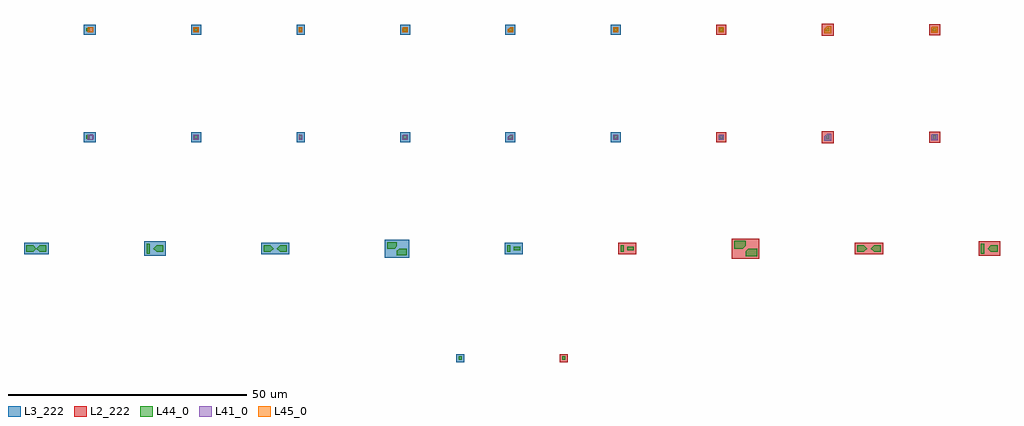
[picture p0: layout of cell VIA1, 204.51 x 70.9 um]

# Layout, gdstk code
from math import pi, radians
import gdstk
lib = gdstk.Library(unit=1e-6, precision=5e-09)
def R(c, l, rs):  # rectangles x0, y0, x1, y1
    for r in rs: c.add(gdstk.rectangle(r[:2], r[2:], *l))
def P(c, l, *ps):  # polygons
    for p in ps: c.add(gdstk.Polygon(p, *l))
L2_222 = (2, 222)
L3_222 = (3, 222)
L41_0 = (41, 0)
L44_0 = (44, 0)
L45_0 = (45, 0)

compass_layervia1_size0p = lib.new_cell('compass_layerVIA1_size0p7__0p7')
R(compass_layervia1_size0p, L44_0, [(-0.35,-0.35,0.35,0.35)])

rectangle_layervia1_size = lib.new_cell('rectangle_layerVIA1_size0p7__0p7')
rectangle_layervia1_size.add(gdstk.Reference(compass_layervia1_size0p, (0.35,0.35)))

compass_b2efa8bb = lib.new_cell('compass_b2efa8bb')
R(compass_b2efa8bb, L2_222, [(-0.85,-0.85,0.85,0.85)])

rectangle_b2efa8bb = lib.new_cell('rectangle_b2efa8bb')
rectangle_b2efa8bb.add(gdstk.Reference(compass_b2efa8bb, (0.85,0.85)))

pass_fail_mk_c8501e77 = lib.new_cell('pass_fail_mk_c8501e77')
pass_fail_mk_c8501e77.add(gdstk.Reference(rectangle_b2efa8bb, (-0.5,-0.5)))
pass_fail_mk_c8501e77.add(gdstk.Label('via1.w.1', (-0.25,-0.25), layer=11, texttype=222))

c_compass_layervia1_size0p = lib.new_cell('compass_layerVIA1_size0p69__0p69')
R(c_compass_layervia1_size0p, L44_0, [(-0.345,-0.345,0.345,0.345)])

c_rectangle_layervia1_size = lib.new_cell('rectangle_layerVIA1_size0p69__0p69')
c_rectangle_layervia1_size.add(gdstk.Reference(c_compass_layervia1_size0p, (0.345,0.345)))

compass_bd24d7c0 = lib.new_cell('compass_bd24d7c0')
R(compass_bd24d7c0, L3_222, [(-0.845,-0.845,0.845,0.845)])

rectangle_bd24d7c0 = lib.new_cell('rectangle_bd24d7c0')
rectangle_bd24d7c0.add(gdstk.Reference(compass_bd24d7c0, (0.845,0.845)))

pass_fail_mk_c01138e9 = lib.new_cell('pass_fail_mk_c01138e9')
pass_fail_mk_c01138e9.add(gdstk.Reference(rectangle_bd24d7c0, (-0.5,-0.5)))
pass_fail_mk_c01138e9.add(gdstk.Label('via1.w.1', (-0.25,-0.25), layer=11, texttype=222))

size_patterns_width0_7_l = lib.new_cell('size_patterns_width0.7_layerVIA1')
size_patterns_width0_7_l.add(gdstk.Reference(rectangle_layervia1_size, (0,0)))
size_patterns_width0_7_l.add(gdstk.Reference(pass_fail_mk_c8501e77, (0,0)))
size_patterns_width0_7_l.add(gdstk.Reference(c_rectangle_layervia1_size, (-21.69,0.005)))
size_patterns_width0_7_l.add(gdstk.Reference(pass_fail_mk_c01138e9, (-21.69,0.005)))

c_compass_layervia1_size0p_ = lib.new_cell('compass_layerVIA1_size0p7__1p4')
R(c_compass_layervia1_size0p_, L44_0, [(-0.35,-0.7,0.35,0.7)])

c_rectangle_layervia1_size_ = lib.new_cell('rectangle_layerVIA1_size0p7__1p4')
c_rectangle_layervia1_size_.add(gdstk.Reference(c_compass_layervia1_size0p_, (0.35,0.7)))

compass_layervia1_size1p = lib.new_cell('compass_layerVIA1_size1p4__0p7')
R(compass_layervia1_size1p, L44_0, [(-0.7,-0.35,0.7,0.35)])

c_rectangle_layervia1_size__ = lib.new_cell('rectangle_layerVIA1_size1p4__0p7')
c_rectangle_layervia1_size__.add(gdstk.Reference(compass_layervia1_size1p, (0.7,0.35)))

space_basic_spacing0_7_l = lib.new_cell('space_basic_spacing0.7_layer1VIA1_layer2VIA1')
space_basic_spacing0_7_l.add(gdstk.Reference(c_rectangle_layervia1_size_, (-0.7,1.05), rotation=pi))
space_basic_spacing0_7_l.add(gdstk.Reference(c_rectangle_layervia1_size__, (0,0)))

compass_77408f74 = lib.new_cell('compass_77408f74')
R(compass_77408f74, L2_222, [(-1.9,-1.2,1.9,1.2)])

rectangle_77408f74 = lib.new_cell('rectangle_77408f74')
rectangle_77408f74.add(gdstk.Reference(compass_77408f74, (1.9,1.2)))

pass_fail_mk_91ce2d83 = lib.new_cell('pass_fail_mk_91ce2d83')
pass_fail_mk_91ce2d83.add(gdstk.Reference(rectangle_77408f74, (-1.9,-0.85)))
pass_fail_mk_91ce2d83.add(gdstk.Label('via1.s.1', (-1.65,-0.6), layer=11, texttype=222))

space_basic_spacing0_69_ = lib.new_cell('space_basic_spacing0.69_layer1VIA1_layer2VIA1')
space_basic_spacing0_69_.add(gdstk.Reference(c_rectangle_layervia1_size_, (-0.69,1.05), rotation=pi))
space_basic_spacing0_69_.add(gdstk.Reference(c_rectangle_layervia1_size__, (0,0)))

compass_235e8b68 = lib.new_cell('compass_235e8b68')
R(compass_235e8b68, L3_222, [(-1.895,-1.2,1.895,1.2)])

rectangle_235e8b68 = lib.new_cell('rectangle_235e8b68')
rectangle_235e8b68.add(gdstk.Reference(compass_235e8b68, (1.895,1.2)))

pass_fail_mk_e3a2019e = lib.new_cell('pass_fail_mk_e3a2019e')
pass_fail_mk_e3a2019e.add(gdstk.Reference(rectangle_235e8b68, (-1.89,-0.85)))
pass_fail_mk_e3a2019e.add(gdstk.Label('via1.s.1', (-1.64,-0.6), layer=11, texttype=222))

boolean_d62dbe90 = lib.new_cell('boolean_d62dbe90')
P(boolean_d62dbe90, L44_0, [(2.4,1.6),(0.57,1.6),(0,1.035),(0,0),(2.4,0)])

space_45deg_spacing0_799 = lib.new_cell('space_45deg_spacing0.7999999999999999_layer1VIA1_layer2VIA1')
space_45deg_spacing0_799.add(gdstk.Reference(boolean_d62dbe90, (0,0)))
space_45deg_spacing0_799.add(gdstk.Reference(boolean_d62dbe90, (0,3.2), rotation=pi))

compass_ca9d0b4a = lib.new_cell('compass_ca9d0b4a')
R(compass_ca9d0b4a, L2_222, [(-2.9,-2.1,2.9,2.1)])

rectangle_ca9d0b4a = lib.new_cell('rectangle_ca9d0b4a')
rectangle_ca9d0b4a.add(gdstk.Reference(compass_ca9d0b4a, (2.9,2.1)))

pass_fail_mk_b84e017b = lib.new_cell('pass_fail_mk_b84e017b')
pass_fail_mk_b84e017b.add(gdstk.Reference(rectangle_ca9d0b4a, (-2.9,-0.5)))
pass_fail_mk_b84e017b.add(gdstk.Label('via1.s.1', (-2.65,-0.25), layer=11, texttype=222))

boolean_6afd6f60 = lib.new_cell('boolean_6afd6f60')
P(boolean_6afd6f60, L44_0, [(2.07,1.38),(0.49,1.38),(0,0.89),(0,0),(2.07,0)])

space_45deg_spacing0_69_ = lib.new_cell('space_45deg_spacing0.69_layer1VIA1_layer2VIA1')
space_45deg_spacing0_69_.add(gdstk.Reference(boolean_6afd6f60, (0,0)))
space_45deg_spacing0_69_.add(gdstk.Reference(boolean_6afd6f60, (0,2.76), rotation=pi))

compass_da3c626a = lib.new_cell('compass_da3c626a')
R(compass_da3c626a, L3_222, [(-2.57,-1.88,2.57,1.88)])

rectangle_da3c626a = lib.new_cell('rectangle_da3c626a')
rectangle_da3c626a.add(gdstk.Reference(compass_da3c626a, (2.57,1.88)))

pass_fail_mk_c0b17ed7 = lib.new_cell('pass_fail_mk_c0b17ed7')
pass_fail_mk_c0b17ed7.add(gdstk.Reference(rectangle_da3c626a, (-2.57,-0.5)))
pass_fail_mk_c0b17ed7.add(gdstk.Label('via1.s.1', (-2.32,-0.25), layer=11, texttype=222))

boolean_af2b0828 = lib.new_cell('boolean_af2b0828')
P(boolean_af2b0828, L44_0, [(0,0),(1.4,0),(1.4,1.4),(0,1.4),(-0.7,0.7)])

boolean_0dd5db65 = lib.new_cell('boolean_0dd5db65')
P(boolean_0dd5db65, L44_0, [(1.4,1.4),(0,1.4),(-0.7,0.7),(0,0),(1.4,0)])

space_cor2cor_spacing0_7 = lib.new_cell('space_cor2cor_spacing0.7_layer1VIA1_layer2VIA1')
space_cor2cor_spacing0_7.add(gdstk.Reference(boolean_af2b0828, (0,0)))
space_cor2cor_spacing0_7.add(gdstk.Reference(boolean_0dd5db65, (-2.1,1.4), rotation=pi))

compass_ff052847 = lib.new_cell('compass_ff052847')
R(compass_ff052847, L2_222, [(-2.95,-1.2,2.95,1.2)])

rectangle_ff052847 = lib.new_cell('rectangle_ff052847')
rectangle_ff052847.add(gdstk.Reference(compass_ff052847, (2.95,1.2)))

pass_fail_mk_3e3ba6e2 = lib.new_cell('pass_fail_mk_3e3ba6e2')
pass_fail_mk_3e3ba6e2.add(gdstk.Reference(rectangle_ff052847, (-4,-0.5)))
pass_fail_mk_3e3ba6e2.add(gdstk.Label('via1.s.1', (-3.75,-0.25), layer=11, texttype=222))

space_cor2cor_spacing0_6 = lib.new_cell('space_cor2cor_spacing0.69_layer1VIA1_layer2VIA1')
space_cor2cor_spacing0_6.add(gdstk.Reference(boolean_af2b0828, (0,0)))
space_cor2cor_spacing0_6.add(gdstk.Reference(boolean_0dd5db65, (-2.09,1.4), rotation=pi))

compass_60b5a301 = lib.new_cell('compass_60b5a301')
R(compass_60b5a301, L3_222, [(-2.945,-1.2,2.945,1.2)])

rectangle_60b5a301 = lib.new_cell('rectangle_60b5a301')
rectangle_60b5a301.add(gdstk.Reference(compass_60b5a301, (2.945,1.2)))

pass_fail_mk_f0616933 = lib.new_cell('pass_fail_mk_f0616933')
pass_fail_mk_f0616933.add(gdstk.Reference(rectangle_60b5a301, (-3.99,-0.5)))
pass_fail_mk_f0616933.add(gdstk.Label('via1.s.1', (-3.74,-0.25), layer=11, texttype=222))

c_compass_layervia1_size0p__ = lib.new_cell('compass_layerVIA1_size0p7__2p1')
R(c_compass_layervia1_size0p__, L44_0, [(-0.35,-1.05,0.35,1.05)])

c_rectangle_layervia1_size___ = lib.new_cell('rectangle_layerVIA1_size0p7__2p1')
c_rectangle_layervia1_size___.add(gdstk.Reference(c_compass_layervia1_size0p__, (0.35,1.05)))

space_cor2edge_spacing0_ = lib.new_cell('space_cor2edge_spacing0.7_layer1VIA1_layer2VIA1')
space_cor2edge_spacing0_.add(gdstk.Reference(c_rectangle_layervia1_size___, (-2.1,-0.35)))
space_cor2edge_spacing0_.add(gdstk.Reference(boolean_af2b0828, (0,0)))

compass_0f98536f = lib.new_cell('compass_0f98536f')
R(compass_0f98536f, L2_222, [(-2.25,-1.55,2.25,1.55)])

rectangle_0f98536f = lib.new_cell('rectangle_0f98536f')
rectangle_0f98536f.add(gdstk.Reference(compass_0f98536f, (2.25,1.55)))

pass_fail_mk_5853cea2 = lib.new_cell('pass_fail_mk_5853cea2')
pass_fail_mk_5853cea2.add(gdstk.Reference(rectangle_0f98536f, (-2.6,-0.85)))
pass_fail_mk_5853cea2.add(gdstk.Label('via1.s.1', (-2.35,-0.6), layer=11, texttype=222))

c_space_cor2edge_spacing0_ = lib.new_cell('space_cor2edge_spacing0.69_layer1VIA1_layer2VIA1')
c_space_cor2edge_spacing0_.add(gdstk.Reference(c_rectangle_layervia1_size___, (-2.09,-0.35)))
c_space_cor2edge_spacing0_.add(gdstk.Reference(boolean_af2b0828, (0,0)))

compass_382587ec = lib.new_cell('compass_382587ec')
R(compass_382587ec, L3_222, [(-2.245,-1.55,2.245,1.55)])

rectangle_382587ec = lib.new_cell('rectangle_382587ec')
rectangle_382587ec.add(gdstk.Reference(compass_382587ec, (2.245,1.55)))

pass_fail_mk_7d794da6 = lib.new_cell('pass_fail_mk_7d794da6')
pass_fail_mk_7d794da6.add(gdstk.Reference(rectangle_382587ec, (-2.59,-0.85)))
pass_fail_mk_7d794da6.add(gdstk.Label('via1.s.1', (-2.34,-0.6), layer=11, texttype=222))

space_singular_layer1via = lib.new_cell('space_singular_layer1VIA1_layer2VIA1')
space_singular_layer1via.add(gdstk.Reference(boolean_af2b0828, (0,0)))
space_singular_layer1via.add(gdstk.Reference(boolean_af2b0828, (-1.4,1.4), rotation=pi))

compass_ae880962 = lib.new_cell('compass_ae880962')
R(compass_ae880962, L3_222, [(-2.6,-1.2,2.6,1.2)])

rectangle_ae880962 = lib.new_cell('rectangle_ae880962')
rectangle_ae880962.add(gdstk.Reference(compass_ae880962, (2.6,1.2)))

pass_fail_mk_49da0acf = lib.new_cell('pass_fail_mk_49da0acf')
pass_fail_mk_49da0acf.add(gdstk.Reference(rectangle_ae880962, (-3.3,-0.5)))
pass_fail_mk_49da0acf.add(gdstk.Label('via1.s.1', (-3.05,-0.25), layer=11, texttype=222))

space_patterns_width0_7_ = lib.new_cell('space_patterns_width0.7_layer1VIA1_layer2VIA1')
space_patterns_width0_7_.add(gdstk.Reference(space_basic_spacing0_7_l, (0,0)))
space_patterns_width0_7_.add(gdstk.Reference(pass_fail_mk_91ce2d83, (0,0)))
space_patterns_width0_7_.add(gdstk.Reference(space_basic_spacing0_69_, (-23.8,0)))
space_patterns_width0_7_.add(gdstk.Reference(pass_fail_mk_e3a2019e, (-23.8,0)))
space_patterns_width0_7_.add(gdstk.Reference(space_45deg_spacing0_799, (24.8,-1.25)))
space_patterns_width0_7_.add(gdstk.Reference(pass_fail_mk_b84e017b, (24.8,-1.25)))
space_patterns_width0_7_.add(gdstk.Reference(space_45deg_spacing0_69_, (-48.26,-1.03)))
space_patterns_width0_7_.add(gdstk.Reference(pass_fail_mk_c0b17ed7, (-48.26,-1.03)))
space_patterns_width0_7_.add(gdstk.Reference(space_cor2cor_spacing0_7, (51.7,-0.35)))
space_patterns_width0_7_.add(gdstk.Reference(pass_fail_mk_3e3ba6e2, (51.7,-0.35)))
space_patterns_width0_7_.add(gdstk.Reference(space_cor2cor_spacing0_6, (-72.73,-0.35)))
space_patterns_width0_7_.add(gdstk.Reference(pass_fail_mk_f0616933, (-72.73,-0.35)))
space_patterns_width0_7_.add(gdstk.Reference(space_cor2edge_spacing0_, (76.2,-0.35)))
space_patterns_width0_7_.add(gdstk.Reference(pass_fail_mk_5853cea2, (76.2,-0.35)))
space_patterns_width0_7_.add(gdstk.Reference(c_space_cor2edge_spacing0_, (-98.62,-0.35)))
space_patterns_width0_7_.add(gdstk.Reference(pass_fail_mk_7d794da6, (-98.62,-0.35)))
space_patterns_width0_7_.add(gdstk.Reference(space_singular_layer1via, (-123.11,-0.35)))
space_patterns_width0_7_.add(gdstk.Reference(pass_fail_mk_49da0acf, (-123.11,-0.35)))

compass_layerm1_size1p1_ = lib.new_cell('compass_layerM1_size1p1__1p1')
R(compass_layerm1_size1p1_, L41_0, [(-0.55,-0.55,0.55,0.55)])

rectangle_layerm1_size1p = lib.new_cell('rectangle_layerM1_size1p1__1p1')
rectangle_layerm1_size1p.add(gdstk.Reference(compass_layerm1_size1p1_, (0.55,0.55)))

enclose_basic_enc0_2_wid = lib.new_cell('enclose_basic_enc0.2_width0.7_layer_VIA1_enc_layerM1')
enclose_basic_enc0_2_wid.add(gdstk.Reference(rectangle_layervia1_size, (0,0)))
enclose_basic_enc0_2_wid.add(gdstk.Reference(rectangle_layerm1_size1p, (-0.2,-0.2)))

compass_4d9544ad = lib.new_cell('compass_4d9544ad')
R(compass_4d9544ad, L2_222, [(-1.05,-1.05,1.05,1.05)])

rectangle_4d9544ad = lib.new_cell('rectangle_4d9544ad')
rectangle_4d9544ad.add(gdstk.Reference(compass_4d9544ad, (1.05,1.05)))

pass_fail_mk_b6f06cf7 = lib.new_cell('pass_fail_mk_b6f06cf7')
pass_fail_mk_b6f06cf7.add(gdstk.Reference(rectangle_4d9544ad, (-0.7,-0.7)))
pass_fail_mk_b6f06cf7.add(gdstk.Label('via1.en.1', (-0.45,-0.45), layer=11, texttype=222))

compass_layerm1_size1p08 = lib.new_cell('compass_layerM1_size1p08__1p08')
R(compass_layerm1_size1p08, L41_0, [(-0.54,-0.54,0.54,0.54)])

c_rectangle_layerm1_size1p = lib.new_cell('rectangle_layerM1_size1p08__1p08')
c_rectangle_layerm1_size1p.add(gdstk.Reference(compass_layerm1_size1p08, (0.54,0.54)))

enclose_basic_enc0_19_wi = lib.new_cell('enclose_basic_enc0.19_width0.7_layer_VIA1_enc_layerM1')
enclose_basic_enc0_19_wi.add(gdstk.Reference(rectangle_layervia1_size, (0,0)))
enclose_basic_enc0_19_wi.add(gdstk.Reference(c_rectangle_layerm1_size1p, (-0.19,-0.19)))

compass_09d3e0af = lib.new_cell('compass_09d3e0af')
R(compass_09d3e0af, L3_222, [(-1.04,-1.04,1.04,1.04)])

rectangle_09d3e0af = lib.new_cell('rectangle_09d3e0af')
rectangle_09d3e0af.add(gdstk.Reference(compass_09d3e0af, (1.04,1.04)))

pass_fail_mk_d2f95893 = lib.new_cell('pass_fail_mk_d2f95893')
pass_fail_mk_d2f95893.add(gdstk.Reference(rectangle_09d3e0af, (-0.69,-0.69)))
pass_fail_mk_d2f95893.add(gdstk.Label('via1.en.1', (-0.44,-0.44), layer=11, texttype=222))

boolean_189be4b6 = lib.new_cell('boolean_189be4b6')
P(boolean_189be4b6, L44_0, [(0.7,0.7),(0.25,0.7),(0,0.455),(0,0),(0.7,0)])

boolean_04932b49 = lib.new_cell('boolean_04932b49')
P(boolean_04932b49, L41_0, [(1.1,1.1),(0.21,1.1),(-0.4,0.49),(-0.4,-0.4),(1.1,-0.4)])

enclose_45deg_enc0_4_wid = lib.new_cell('enclose_45deg_enc0.4_width0.7_layer_VIA1_enc_layerM1')
enclose_45deg_enc0_4_wid.add(gdstk.Reference(boolean_189be4b6, (0,0)))
enclose_45deg_enc0_4_wid.add(gdstk.Reference(boolean_04932b49, (0,0)))

compass_d4646f12 = lib.new_cell('compass_d4646f12')
R(compass_d4646f12, L2_222, [(-1.25,-1.25,1.25,1.25)])

rectangle_d4646f12 = lib.new_cell('rectangle_d4646f12')
rectangle_d4646f12.add(gdstk.Reference(compass_d4646f12, (1.25,1.25)))

pass_fail_mk_bd31aa69 = lib.new_cell('pass_fail_mk_bd31aa69')
pass_fail_mk_bd31aa69.add(gdstk.Reference(rectangle_d4646f12, (-0.9,-0.9)))
pass_fail_mk_bd31aa69.add(gdstk.Label('via1.en.1', (-0.65,-0.65), layer=11, texttype=222))

boolean_8bc4c2ca = lib.new_cell('boolean_8bc4c2ca')
P(boolean_8bc4c2ca, L41_0, [(0.89,0.89),(0.285,0.89),(-0.19,0.415),(-0.19,-0.19),(0.89,-0.19)])

enclose_45deg_enc0_19_wi = lib.new_cell('enclose_45deg_enc0.19_width0.7_layer_VIA1_enc_layerM1')
enclose_45deg_enc0_19_wi.add(gdstk.Reference(boolean_189be4b6, (0,0)))
enclose_45deg_enc0_19_wi.add(gdstk.Reference(boolean_8bc4c2ca, (0,0)))

pass_fail_mk_795dd1d4 = lib.new_cell('pass_fail_mk_795dd1d4')
pass_fail_mk_795dd1d4.add(gdstk.Reference(rectangle_09d3e0af, (-0.69,-0.69)))
pass_fail_mk_795dd1d4.add(gdstk.Label('via1.en.1', (-0.44,-0.44), layer=11, texttype=222))

boolean_1a02ecaa = lib.new_cell('boolean_1a02ecaa')
P(boolean_1a02ecaa, L41_0, [(1,1),(-0.125,1),(-0.3,0.825),(-0.3,-0.3),(1,-0.3)])

enclose_cor2edge_enc0_30 = lib.new_cell('enclose_cor2edge_enc0.30000000000000004_width0.7_layer_VIA1_enc_layerM1')
enclose_cor2edge_enc0_30.add(gdstk.Reference(rectangle_layervia1_size, (0,0)))
enclose_cor2edge_enc0_30.add(gdstk.Reference(boolean_1a02ecaa, (0,0)))

compass_6398bd07 = lib.new_cell('compass_6398bd07')
R(compass_6398bd07, L2_222, [(-1.15,-1.15,1.15,1.15)])

rectangle_6398bd07 = lib.new_cell('rectangle_6398bd07')
rectangle_6398bd07.add(gdstk.Reference(compass_6398bd07, (1.15,1.15)))

pass_fail_mk_22f5c6f0 = lib.new_cell('pass_fail_mk_22f5c6f0')
pass_fail_mk_22f5c6f0.add(gdstk.Reference(rectangle_6398bd07, (-0.8,-0.8)))
pass_fail_mk_22f5c6f0.add(gdstk.Label('via1.en.1', (-0.55,-0.55), layer=11, texttype=222))

boolean_db17fe55 = lib.new_cell('boolean_db17fe55')
P(boolean_db17fe55, L41_0, [(0.89,0.89),(-0.08,0.89),(-0.19,0.78),(-0.19,-0.19),(0.89,-0.19)])

enclose_cor2edge_enc0_19 = lib.new_cell('enclose_cor2edge_enc0.19_width0.7_layer_VIA1_enc_layerM1')
enclose_cor2edge_enc0_19.add(gdstk.Reference(rectangle_layervia1_size, (0,0)))
enclose_cor2edge_enc0_19.add(gdstk.Reference(boolean_db17fe55, (0,0)))

pass_fail_mk_85591eeb = lib.new_cell('pass_fail_mk_85591eeb')
pass_fail_mk_85591eeb.add(gdstk.Reference(rectangle_09d3e0af, (-0.69,-0.69)))
pass_fail_mk_85591eeb.add(gdstk.Label('via1.en.1', (-0.44,-0.44), layer=11, texttype=222))

compass_layerm1_size0p7_ = lib.new_cell('compass_layerM1_size0p7__1p08')
R(compass_layerm1_size0p7_, L41_0, [(-0.35,-0.54,0.35,0.54)])

rectangle_layerm1_size0p = lib.new_cell('rectangle_layerM1_size0p7__1p08')
rectangle_layerm1_size0p.add(gdstk.Reference(compass_layerm1_size0p7_, (0.35,0.54)))

enclose_touch_enc0_19_wi = lib.new_cell('enclose_touch_enc0.19_width0.7_layer_VIA1_enc_layerM1')
enclose_touch_enc0_19_wi.add(gdstk.Reference(rectangle_layervia1_size, (0,0)))
enclose_touch_enc0_19_wi.add(gdstk.Reference(rectangle_layerm1_size0p, (0,-0.19)))

compass_11993e2e = lib.new_cell('compass_11993e2e')
R(compass_11993e2e, L3_222, [(-0.85,-1.04,0.85,1.04)])

rectangle_11993e2e = lib.new_cell('rectangle_11993e2e')
rectangle_11993e2e.add(gdstk.Reference(compass_11993e2e, (0.85,1.04)))

pass_fail_mk_4b0c09f2 = lib.new_cell('pass_fail_mk_4b0c09f2')
pass_fail_mk_4b0c09f2.add(gdstk.Reference(rectangle_11993e2e, (-0.5,-0.69)))
pass_fail_mk_4b0c09f2.add(gdstk.Label('via1.en.1', (-0.25,-0.44), layer=11, texttype=222))

boolean_caddbb86 = lib.new_cell('boolean_caddbb86')
P(boolean_caddbb86, L41_0, [(0.9,0.9),(-0.2,0.9),(-0.2,0.09),(0.09,0.09),(0.09,0.61),(0.61,0.61),(0.61,0.09),(0.09,0.09),(-0.2,0.09),(-0.2,-0.2),(0.9,-0.2)])

enclose_hole_enc0_2_widt = lib.new_cell('enclose_hole_enc0.2_width0.7_layer_VIA1_enc_layerM1')
enclose_hole_enc0_2_widt.add(gdstk.Reference(rectangle_layervia1_size, (0,0)))
enclose_hole_enc0_2_widt.add(gdstk.Reference(boolean_caddbb86, (0,0)))

compass_68271b65 = lib.new_cell('compass_68271b65')
R(compass_68271b65, L3_222, [(-1.05,-1.05,1.05,1.05)])

rectangle_68271b65 = lib.new_cell('rectangle_68271b65')
rectangle_68271b65.add(gdstk.Reference(compass_68271b65, (1.05,1.05)))

pass_fail_mk_3068ac8f = lib.new_cell('pass_fail_mk_3068ac8f')
pass_fail_mk_3068ac8f.add(gdstk.Reference(rectangle_68271b65, (-0.7,-0.7)))
pass_fail_mk_3068ac8f.add(gdstk.Label('via1.en.1', (-0.45,-0.45), layer=11, texttype=222))

enclose_intersect_enc0_2 = lib.new_cell('enclose_intersect_enc0.2_width0.7_layer_VIA1_enc_layerM1')
enclose_intersect_enc0_2.add(gdstk.Reference(rectangle_layervia1_size, (-0.55,0)))
enclose_intersect_enc0_2.add(gdstk.Reference(rectangle_layerm1_size1p, (-0.2,-0.2)))

compass_78b57009 = lib.new_cell('compass_78b57009')
R(compass_78b57009, L3_222, [(-1.225,-1.05,1.225,1.05)])

rectangle_78b57009 = lib.new_cell('rectangle_78b57009')
rectangle_78b57009.add(gdstk.Reference(compass_78b57009, (1.225,1.05)))

pass_fail_mk_a2314b56 = lib.new_cell('pass_fail_mk_a2314b56')
pass_fail_mk_a2314b56.add(gdstk.Reference(rectangle_78b57009, (-1.05,-0.7)))
pass_fail_mk_a2314b56.add(gdstk.Label('via1.en.1', (-0.8,-0.45), layer=11, texttype=222))

enclose_patterns_enclosu = lib.new_cell('enclose_patterns_enclosure0.2_width0.7_layerVIA1_enc_layerM1')
enclose_patterns_enclosu.add(gdstk.Reference(enclose_basic_enc0_2_wid, (0,0)))
enclose_patterns_enclosu.add(gdstk.Reference(pass_fail_mk_b6f06cf7, (0,0)))
enclose_patterns_enclosu.add(gdstk.Reference(enclose_basic_enc0_19_wi, (-22.09,0)))
enclose_patterns_enclosu.add(gdstk.Reference(pass_fail_mk_d2f95893, (-22.09,0)))
enclose_patterns_enclosu.add(gdstk.Reference(enclose_45deg_enc0_4_wid, (22.3,0)))
enclose_patterns_enclosu.add(gdstk.Reference(pass_fail_mk_bd31aa69, (22.3,0)))
enclose_patterns_enclosu.add(gdstk.Reference(enclose_45deg_enc0_19_wi, (-44.17,0)))
enclose_patterns_enclosu.add(gdstk.Reference(pass_fail_mk_795dd1d4, (-44.17,0)))
enclose_patterns_enclosu.add(gdstk.Reference(enclose_cor2edge_enc0_30, (44.7,0)))
enclose_patterns_enclosu.add(gdstk.Reference(pass_fail_mk_22f5c6f0, (44.7,0)))
enclose_patterns_enclosu.add(gdstk.Reference(enclose_cor2edge_enc0_19, (-66.25,0)))
enclose_patterns_enclosu.add(gdstk.Reference(pass_fail_mk_85591eeb, (-66.25,0)))
enclose_patterns_enclosu.add(gdstk.Reference(enclose_touch_enc0_19_wi, (-88.14,0)))
enclose_patterns_enclosu.add(gdstk.Reference(pass_fail_mk_4b0c09f2, (-88.14,0)))
enclose_patterns_enclosu.add(gdstk.Reference(enclose_hole_enc0_2_widt, (-110.04,0)))
enclose_patterns_enclosu.add(gdstk.Reference(pass_fail_mk_3068ac8f, (-110.04,0)))
enclose_patterns_enclosu.add(gdstk.Reference(enclose_intersect_enc0_2, (-132.14,0)))
enclose_patterns_enclosu.add(gdstk.Reference(pass_fail_mk_a2314b56, (-132.14,0)))

compass_layerm2_size1p1_ = lib.new_cell('compass_layerM2_size1p1__1p1')
R(compass_layerm2_size1p1_, L45_0, [(-0.55,-0.55,0.55,0.55)])

rectangle_layerm2_size1p = lib.new_cell('rectangle_layerM2_size1p1__1p1')
rectangle_layerm2_size1p.add(gdstk.Reference(compass_layerm2_size1p1_, (0.55,0.55)))

c_enclose_basic_enc0_2_wid = lib.new_cell('enclose_basic_enc0.2_width0.7_layer_VIA1_enc_layerM2')
c_enclose_basic_enc0_2_wid.add(gdstk.Reference(rectangle_layervia1_size, (0,0)))
c_enclose_basic_enc0_2_wid.add(gdstk.Reference(rectangle_layerm2_size1p, (-0.2,-0.2)))

pass_fail_mk_1e7d56a7 = lib.new_cell('pass_fail_mk_1e7d56a7')
pass_fail_mk_1e7d56a7.add(gdstk.Reference(rectangle_4d9544ad, (-0.7,-0.7)))
pass_fail_mk_1e7d56a7.add(gdstk.Label('via1.en.2', (-0.45,-0.45), layer=11, texttype=222))

compass_layerm2_size1p08 = lib.new_cell('compass_layerM2_size1p08__1p08')
R(compass_layerm2_size1p08, L45_0, [(-0.54,-0.54,0.54,0.54)])

c_rectangle_layerm2_size1p = lib.new_cell('rectangle_layerM2_size1p08__1p08')
c_rectangle_layerm2_size1p.add(gdstk.Reference(compass_layerm2_size1p08, (0.54,0.54)))

c_enclose_basic_enc0_19_wi = lib.new_cell('enclose_basic_enc0.19_width0.7_layer_VIA1_enc_layerM2')
c_enclose_basic_enc0_19_wi.add(gdstk.Reference(rectangle_layervia1_size, (0,0)))
c_enclose_basic_enc0_19_wi.add(gdstk.Reference(c_rectangle_layerm2_size1p, (-0.19,-0.19)))

pass_fail_mk_310cf247 = lib.new_cell('pass_fail_mk_310cf247')
pass_fail_mk_310cf247.add(gdstk.Reference(rectangle_09d3e0af, (-0.69,-0.69)))
pass_fail_mk_310cf247.add(gdstk.Label('via1.en.2', (-0.44,-0.44), layer=11, texttype=222))

boolean_161bbef3 = lib.new_cell('boolean_161bbef3')
P(boolean_161bbef3, L45_0, [(1.1,1.1),(0.21,1.1),(-0.4,0.49),(-0.4,-0.4),(1.1,-0.4)])

c_enclose_45deg_enc0_4_wid = lib.new_cell('enclose_45deg_enc0.4_width0.7_layer_VIA1_enc_layerM2')
c_enclose_45deg_enc0_4_wid.add(gdstk.Reference(boolean_189be4b6, (0,0)))
c_enclose_45deg_enc0_4_wid.add(gdstk.Reference(boolean_161bbef3, (0,0)))

pass_fail_mk_aabb3ffa = lib.new_cell('pass_fail_mk_aabb3ffa')
pass_fail_mk_aabb3ffa.add(gdstk.Reference(rectangle_d4646f12, (-0.9,-0.9)))
pass_fail_mk_aabb3ffa.add(gdstk.Label('via1.en.2', (-0.65,-0.65), layer=11, texttype=222))

boolean_8db4ce8d = lib.new_cell('boolean_8db4ce8d')
P(boolean_8db4ce8d, L45_0, [(0.89,0.89),(0.285,0.89),(-0.19,0.415),(-0.19,-0.19),(0.89,-0.19)])

c_enclose_45deg_enc0_19_wi = lib.new_cell('enclose_45deg_enc0.19_width0.7_layer_VIA1_enc_layerM2')
c_enclose_45deg_enc0_19_wi.add(gdstk.Reference(boolean_189be4b6, (0,0)))
c_enclose_45deg_enc0_19_wi.add(gdstk.Reference(boolean_8db4ce8d, (0,0)))

pass_fail_mk_353cda20 = lib.new_cell('pass_fail_mk_353cda20')
pass_fail_mk_353cda20.add(gdstk.Reference(rectangle_09d3e0af, (-0.69,-0.69)))
pass_fail_mk_353cda20.add(gdstk.Label('via1.en.2', (-0.44,-0.44), layer=11, texttype=222))

boolean_5236c376 = lib.new_cell('boolean_5236c376')
P(boolean_5236c376, L45_0, [(1,1),(-0.125,1),(-0.3,0.825),(-0.3,-0.3),(1,-0.3)])

c_enclose_cor2edge_enc0_30 = lib.new_cell('enclose_cor2edge_enc0.30000000000000004_width0.7_layer_VIA1_enc_layerM2')
c_enclose_cor2edge_enc0_30.add(gdstk.Reference(rectangle_layervia1_size, (0,0)))
c_enclose_cor2edge_enc0_30.add(gdstk.Reference(boolean_5236c376, (0,0)))

pass_fail_mk_b935c46b = lib.new_cell('pass_fail_mk_b935c46b')
pass_fail_mk_b935c46b.add(gdstk.Reference(rectangle_6398bd07, (-0.8,-0.8)))
pass_fail_mk_b935c46b.add(gdstk.Label('via1.en.2', (-0.55,-0.55), layer=11, texttype=222))

boolean_c2c6d198 = lib.new_cell('boolean_c2c6d198')
P(boolean_c2c6d198, L45_0, [(0.89,0.89),(-0.08,0.89),(-0.19,0.78),(-0.19,-0.19),(0.89,-0.19)])

c_enclose_cor2edge_enc0_19 = lib.new_cell('enclose_cor2edge_enc0.19_width0.7_layer_VIA1_enc_layerM2')
c_enclose_cor2edge_enc0_19.add(gdstk.Reference(rectangle_layervia1_size, (0,0)))
c_enclose_cor2edge_enc0_19.add(gdstk.Reference(boolean_c2c6d198, (0,0)))

pass_fail_mk_1e830833 = lib.new_cell('pass_fail_mk_1e830833')
pass_fail_mk_1e830833.add(gdstk.Reference(rectangle_09d3e0af, (-0.69,-0.69)))
pass_fail_mk_1e830833.add(gdstk.Label('via1.en.2', (-0.44,-0.44), layer=11, texttype=222))

compass_layerm2_size0p7_ = lib.new_cell('compass_layerM2_size0p7__1p08')
R(compass_layerm2_size0p7_, L45_0, [(-0.35,-0.54,0.35,0.54)])

rectangle_layerm2_size0p = lib.new_cell('rectangle_layerM2_size0p7__1p08')
rectangle_layerm2_size0p.add(gdstk.Reference(compass_layerm2_size0p7_, (0.35,0.54)))

c_enclose_touch_enc0_19_wi = lib.new_cell('enclose_touch_enc0.19_width0.7_layer_VIA1_enc_layerM2')
c_enclose_touch_enc0_19_wi.add(gdstk.Reference(rectangle_layervia1_size, (0,0)))
c_enclose_touch_enc0_19_wi.add(gdstk.Reference(rectangle_layerm2_size0p, (0,-0.19)))

pass_fail_mk_1def8c58 = lib.new_cell('pass_fail_mk_1def8c58')
pass_fail_mk_1def8c58.add(gdstk.Reference(rectangle_11993e2e, (-0.5,-0.69)))
pass_fail_mk_1def8c58.add(gdstk.Label('via1.en.2', (-0.25,-0.44), layer=11, texttype=222))

boolean_4a46e342 = lib.new_cell('boolean_4a46e342')
P(boolean_4a46e342, L45_0, [(0.9,0.9),(-0.2,0.9),(-0.2,0.09),(0.09,0.09),(0.09,0.61),(0.61,0.61),(0.61,0.09),(0.09,0.09),(-0.2,0.09),(-0.2,-0.2),(0.9,-0.2)])

c_enclose_hole_enc0_2_widt = lib.new_cell('enclose_hole_enc0.2_width0.7_layer_VIA1_enc_layerM2')
c_enclose_hole_enc0_2_widt.add(gdstk.Reference(rectangle_layervia1_size, (0,0)))
c_enclose_hole_enc0_2_widt.add(gdstk.Reference(boolean_4a46e342, (0,0)))

pass_fail_mk_39bb188f = lib.new_cell('pass_fail_mk_39bb188f')
pass_fail_mk_39bb188f.add(gdstk.Reference(rectangle_68271b65, (-0.7,-0.7)))
pass_fail_mk_39bb188f.add(gdstk.Label('via1.en.2', (-0.45,-0.45), layer=11, texttype=222))

c_enclose_intersect_enc0_2 = lib.new_cell('enclose_intersect_enc0.2_width0.7_layer_VIA1_enc_layerM2')
c_enclose_intersect_enc0_2.add(gdstk.Reference(rectangle_layervia1_size, (-0.55,0)))
c_enclose_intersect_enc0_2.add(gdstk.Reference(rectangle_layerm2_size1p, (-0.2,-0.2)))

pass_fail_mk_b76c8250 = lib.new_cell('pass_fail_mk_b76c8250')
pass_fail_mk_b76c8250.add(gdstk.Reference(rectangle_78b57009, (-1.05,-0.7)))
pass_fail_mk_b76c8250.add(gdstk.Label('via1.en.2', (-0.8,-0.45), layer=11, texttype=222))

c_enclose_patterns_enclosu = lib.new_cell('enclose_patterns_enclosure0.2_width0.7_layerVIA1_enc_layerM2')
c_enclose_patterns_enclosu.add(gdstk.Reference(c_enclose_basic_enc0_2_wid, (0,0)))
c_enclose_patterns_enclosu.add(gdstk.Reference(pass_fail_mk_1e7d56a7, (0,0)))
c_enclose_patterns_enclosu.add(gdstk.Reference(c_enclose_basic_enc0_19_wi, (-22.09,0)))
c_enclose_patterns_enclosu.add(gdstk.Reference(pass_fail_mk_310cf247, (-22.09,0)))
c_enclose_patterns_enclosu.add(gdstk.Reference(c_enclose_45deg_enc0_4_wid, (22.3,0)))
c_enclose_patterns_enclosu.add(gdstk.Reference(pass_fail_mk_aabb3ffa, (22.3,0)))
c_enclose_patterns_enclosu.add(gdstk.Reference(c_enclose_45deg_enc0_19_wi, (-44.17,0)))
c_enclose_patterns_enclosu.add(gdstk.Reference(pass_fail_mk_353cda20, (-44.17,0)))
c_enclose_patterns_enclosu.add(gdstk.Reference(c_enclose_cor2edge_enc0_30, (44.7,0)))
c_enclose_patterns_enclosu.add(gdstk.Reference(pass_fail_mk_b935c46b, (44.7,0)))
c_enclose_patterns_enclosu.add(gdstk.Reference(c_enclose_cor2edge_enc0_19, (-66.25,0)))
c_enclose_patterns_enclosu.add(gdstk.Reference(pass_fail_mk_1e830833, (-66.25,0)))
c_enclose_patterns_enclosu.add(gdstk.Reference(c_enclose_touch_enc0_19_wi, (-88.14,0)))
c_enclose_patterns_enclosu.add(gdstk.Reference(pass_fail_mk_1def8c58, (-88.14,0)))
c_enclose_patterns_enclosu.add(gdstk.Reference(c_enclose_hole_enc0_2_widt, (-110.04,0)))
c_enclose_patterns_enclosu.add(gdstk.Reference(pass_fail_mk_39bb188f, (-110.04,0)))
c_enclose_patterns_enclosu.add(gdstk.Reference(c_enclose_intersect_enc0_2, (-132.14,0)))
c_enclose_patterns_enclosu.add(gdstk.Reference(pass_fail_mk_b76c8250, (-132.14,0)))

via1 = lib.new_cell('VIA1')
via1.add(gdstk.Reference(size_patterns_width0_7_l, (0,0)))
via1.add(gdstk.Reference(space_patterns_width0_7_, (13.66,22.95)))
via1.add(gdstk.Reference(enclose_patterns_enclosu, (33,46.3)))
via1.add(gdstk.Reference(c_enclose_patterns_enclosu, (33,68.8)))

lib.write_gds('VIA1.gds')
